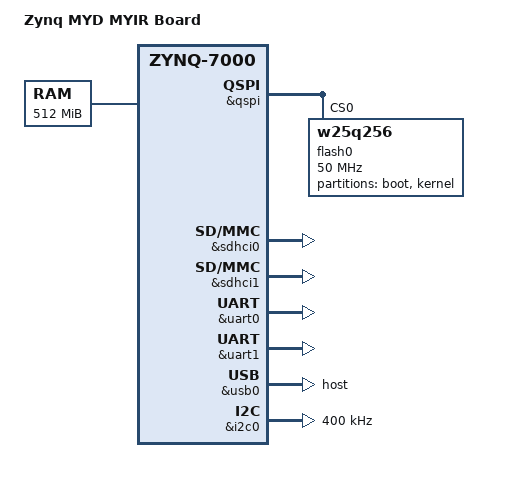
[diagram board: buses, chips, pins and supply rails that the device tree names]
/*
 *  Copyright (C) 2015 Andrea Merello <adnrea.merello@gmail.com>
 *  Copyright (C) 2017 Alexander Graf <agraf@suse.de>
 *
 *  Based on zynq-zed.dts which is:
 *  Copyright (C) 2011 - 2014 Xilinx
 *  Copyright (C) 2012 National Instruments Corp.
 *
 * This software is licensed under the terms of the GNU General Public
 * License version 2, as published by the Free Software Foundation, and
 * may be copied, distributed, and modified under those terms.
 *
 * This program is distributed in the hope that it will be useful,
 * but WITHOUT ANY WARRANTY; without even the implied warranty of
 * MERCHANTABILITY or FITNESS FOR A PARTICULAR PURPOSE.  See the
 * GNU General Public License for more details.
 */
/dts-v1/;
/include/ "zynq-7000.dtsi"

/ {
	model = "Zynq MYD MYIR Board";
	compatible = "myir,zynq-myd", "xlnx,zynq-7000";

	aliases {
		ethernet0 = &gem0;
		serial0 = &uart1;
		serial1 = &uart0;
		spi0 = &qspi;
		mmc0 = &sdhci0;
	};

	memory {
		device_type = "memory";
		reg = <0x0 0x20000000>;
	};

	chosen {
		stdout-path = "serial0:115200n8";
	};

&clkc {
	ps-clk-frequency = <33333333>;
	fclk-enable = <0xf>;
};

&qspi {
	#address-cells = <1>;
	#size-cells = <0>;
    is-dual = <0>;
	num-cs = <1>;
	flash0: flash@0 {
		compatible = "w25q256","micron,m25p80";
		reg = <0x0>;
		#address-cells = <1>;
		#size-cells = <1>;
		spi-max-frequency = <50000000>;
		partition@0x00000000 {
			label = "boot";
			reg = <0x00000000 0x00500000>;
		};
		partition@0x00500000 {
			label = "kernel";
			reg = <0x00500000 0x00a00000>;
		};
	};
};

&gem0 {
	status = "okay";
	phy-mode = "rgmii-id";
	phy-handle = <&ethernet_phy>;

	ethernet_phy: ethernet-phy@0 {
		reg = <0x0>;
	};
};

&sdhci0 {
	status = "okay";
    u-boot,dm-pre-reloc;
	broken-mmc-highspeed;
	no-1-8-v;
};

&sdhci1 {
    status = "okay";
    u-boot,dm-pre-reloc;
	no-1-8-v;
    xlnx,has-wp = <0x1>;
    broken-cd;
    wp-inverted;
};


&uart0 {
	u-boot,dm-pre-reloc;
	status = "okay";
};

&uart1 {
	u-boot,dm-pre-reloc;
	status = "okay";
};

&usb0 {
	status = "okay";
	dr_mode = "host";
};

&can0 {
	status = "okay";
};

&i2c0 {
	status = "okay";
	clock-frequency = <400000>;

};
